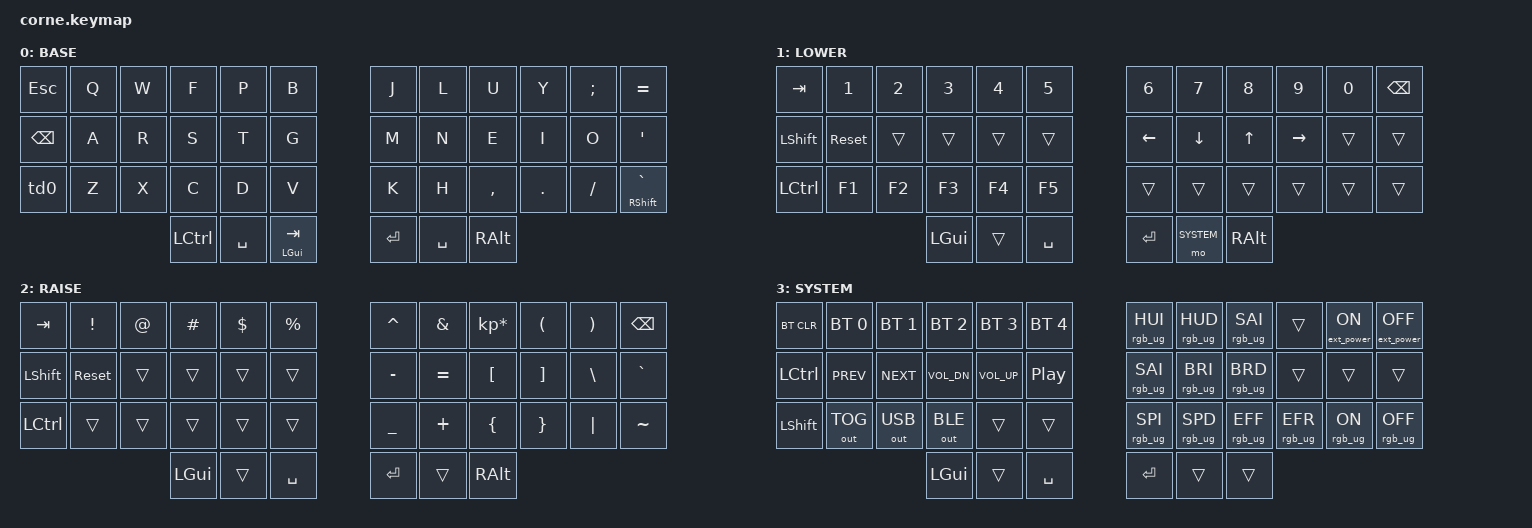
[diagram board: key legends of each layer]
#include <behaviors.dtsi>
#include <dt-bindings/zmk/keys.h>
#include <dt-bindings/zmk/bt.h>
#include <dt-bindings/zmk/ext_power.h>
#include <dt-bindings/zmk/rgb.h>
#include <dt-bindings/zmk/outputs.h>

#define DEFAULT  0
#define LOWER    1
#define RAISE    2
#define SYSTEM   3

&led_strip {
    chain-length = <27>;
    // 21 backlight + 6 glowlight
};

/ {
        combos {
                compatible = "zmk,combos";
                combo_1 {
                        timeout-ms = <50>;
                        key-positions = <0 1>;
                        bindings = <&kp N1>;
                        layers = <0>;
                };
                combo_2 {
                        timeout-ms = <50>;
                        key-positions = <1 2>;
                        bindings = <&kp N2>;
                        layers = <0>;
                };
                combo_3 {
                        timeout-ms = <50>;
                        key-positions = <2 3>;
                        bindings = <&kp N3>;
                        layers = <0>;
                };
                combo_4 {
                        timeout-ms = <50>;
                        key-positions = <3 4>;
                        bindings = <&kp N4>;
                        layers = <0>;
                };
                combo_5 {
                        timeout-ms = <50>;
                        key-positions = <4 5>;
                        bindings = <&kp N5>;
                        layers = <0>;
                };
                combo_6 {
                        timeout-ms = <50>;
                        key-positions = <6 7>;
                        bindings = <&kp N6>;
                        layers = <0>;
                };
                combo_7 {
                        timeout-ms = <50>;
                        key-positions = <7 8>;
                        bindings = <&kp N7>;
                        layers = <0>;
                };
                combo_8 {
                        timeout-ms = <50>;
                        key-positions = <8 9>;
                        bindings = <&kp N8>;
                        layers = <0>;
                };
                combo_9 {
                        timeout-ms = <50>;
                        key-positions = <9 10>;
                        bindings = <&kp N9>;
                        layers = <0>;
                };
                combo_0 {
                        timeout-ms = <50>;
                        key-positions = <10 11>;
                        bindings = <&kp N0>;
                        layers = <0>;
                };

                combo_tab {
                        timeout-ms = <50>;
                        key-positions = <13 14>;
                        bindings = <&kp TAB>;
                        layers = <0>;
                };

                combo_pipe {
                        timeout-ms = <50>;
                        key-positions = <5 6>;
                        bindings = <&kp PIPE>;
                        layers = <0>;
                };
                combo_minur {
                        timeout-ms = <50>;
                        key-positions = <17 18>;
                        bindings = <&kp MINUS>;
                        layers = <0>;
                };
                combo_under {
                        timeout-ms = <50>;
                        key-positions = <29 30>;
                        bindings = <&kp UNDER>;
                        layers = <0>;
                };

                combo_lpar {
                        timeout-ms = <50>;
                        key-positions = <16 17>;
                        bindings = <&mt LT LPAR>;
                        layers = <0>;
                };
                combo_rpar {
                        timeout-ms = <50>;
                        key-positions = <18 19>;
                        bindings = <&mt GT RPAR>;
                        layers = <0>;
                };
                combo_lbrc {
                        timeout-ms = <50>;
                        key-positions = <28 29>;
                        bindings = <&mt LBKT LBRC>;
                        layers = <0>;
                };
                combo_rbrc {
                        timeout-ms = <50>;
                        key-positions = <30 31>;
                        bindings = <&mt RBKT RBRC>;
                        layers = <0>;
                };

                combo_blsh {
                        timeout-ms = <50>;
                        key-positions = <15 28>;
                        bindings = <&kp BSLH>;
                        layers = <0>;
                };
                combo_fslh {
                        timeout-ms = <50>;
                        key-positions = <20 31>;
                        bindings = <&kp FSLH>;
                        layers = <0>;
                };

                combo_up {
                        timeout-ms = <50>;
                        key-positions = <14 16>;
                        bindings = <&kp UP>;
                        layers = <0>;
                };
                combo_down {
                        timeout-ms = <50>;
                        key-positions = <26 28>;
                        bindings = <&kp DOWN>;
                        layers = <0>;
                };
                combo_left {
                        timeout-ms = <50>;
                        key-positions = <14 15>;
                        bindings = <&kp LEFT>;
                        layers = <0>;
                };
                combo_right {
                        timeout-ms = <50>;
                        key-positions = <15 16>;
                        bindings = <&kp RIGHT>;
                        layers = <0>;
                };
                combo_pgup {
                        timeout-ms = <50>;
                        key-positions = <2 4>;
                        bindings = <&kp PG_UP>;
                        layers = <0>;
                };
                combo_pg_dn_1 {
                        timeout-ms = <50>;
                        key-positions = <26 27>;
                        bindings = <&kp PG_DN>;
                        layers = <0>;
                };
                combo_pg_dn_2 {
                        timeout-ms = <50>;
                        key-positions = <27 28>;
                        bindings = <&kp PG_DN>;
                        layers = <0>;
                };
                combo_home {
                        timeout-ms = <50>;
                        key-positions = <2 3 4>;
                        bindings = <&kp HOME>;
                        layers = <0>;
                };
                combo_end {
                        timeout-ms = <50>;
                        key-positions = <26 27 28>;
                        bindings = <&kp END>;
                        layers = <0>;
                };

                combo_sys {
                        timeout-ms = <50>;
                        key-positions = <36 37 38>;
                        bindings = <&mo SYSTEM>;
                        layers = <0>;
                };
        };
};


/ {
        behaviors {
                td0: tap_dance_0 {
                        compatible = "zmk,behavior-tap-dance";
                        #binding-cells = <0>;
                        tapping-term-ms = <200>;
                        bindings = <&kp LSHFT>, <&kp LSHFT>, <&kp CAPSLOCK>;
                };
        };
        keymap {
                compatible = "zmk,keymap";

                default_layer {
                        label = "BASE";
                                // -----------------------------------------------------------------------------------------
                                // | ESC  |  Q  |  W  |  F  |  P  |  B  | _________ |  J  |  L   |  U  |  Y  |  ;  |  =  |
                                // | BKSP |  A  |  R  |  S  |  T  |  G  | _________ |  M  |  N   |  E  |  I  |  O  |  '  |
                                // | SHFT |  Z  |  X  |  C  |  D  |  V  | _________ |  K  |  H   |  ,  |  .  |  /  |  `  |
                                //                    | CRL | SPC | GUI | _________ | ENT | SPC  | ALT |

                        bindings = <
                                &kp ESC    &kp Q  &kp W     &kp F      &kp P &kp B         &kp J    &kp L      &kp U      &kp Y    &kp SEMI  &kp EQUAL
                                &kp BSPC   &kp A  &kp R     &kp S      &kp T &kp G         &kp M    &kp N      &kp E      &kp I    &kp O     &kp SQT
                                &td0       &kp Z  &kp X     &kp C      &kp D &kp V         &kp K    &kp H      &kp COMMA  &kp DOT  &kp FSLH  &mt RSHFT GRAVE
                                                  &kp LCTRL &kp SPACE  &mt LGUI TAB        &kp RET  &kp SPACE  &kp RALT
                        >;
                };

                lower_layer {
                        label = "LOWER";
                                // -----------------------------------------------------------------------------------------
                                // | TAB  |  1  |  2  |  3  |  4  |  5  | _________ |  6   |  7   |  8    |  9     |  0    | BKSP |
                                // | SHFT |     |     |     |     |     | _________ | LEFT | DOWN |  UP   | RIGHT  |       |      |
                                // | CTRL | F1  | F2  | F3  | F4  | F5  | _________ | F6   | F7   |  F8   | F9     |  F10  | F11  |
                                //                    | GUI |     | SPC | _________ | ENT  | SYS  |  RALT |
 
                        bindings = <
                                &kp TAB    &kp N1  &kp N2    &kp N3    &kp N4  &kp N5                 &kp N6    &kp N7      &kp N8  &kp N9     &kp N0  &kp BSPC
                                &kp LSHFT  &sys_reset  &trans    &trans    &trans  &trans                 &kp LEFT  &kp DOWN    &kp UP  &kp RIGHT  &trans  &trans
                                &kp LCTRL  &kp F1  &kp F2    &kp F3    &kp F4  &kp F5                 &trans    &trans      &trans  &trans     &trans  &trans
                                                             &kp LGUI  &trans  &kp SPACE              &kp RET   &mo SYSTEM  &kp RALT
                        >;
                };

                raise_layer {
                        label = "RAISE";
                                // -----------------------------------------------------------------------------------------
                                // |  TAB |  !  |  @  |  #  |  $  |  %  | _________ |  ^  |  &  |  *  |  (  |  )  | BKSP |
                                // | SHFT |     |     |     |     |     | _________ |  -  |  =  |  [  |  ]  |  \  |  `   |
                                // | CTRL |     |     |     |     |     | _________ |  _  |  +  |  {  |  }  | "|" |  ~   |
                                //                    | GUI |     | SPC | _________ | ENT |     | ALT |
                        bindings = <
                                &kp  TAB  &kp EXCL &kp AT &kp HASH &kp DLLR &kp PRCNT           &kp CARET &kp AMPS  &kp KP_MULTIPLY &kp LPAR &kp RPAR &kp BSPC
                                &kp LSHFT &sys_reset   &trans &trans   &trans   &trans              &kp MINUS &kp EQUAL &kp LBKT        &kp RBKT &kp BSLH &kp GRAVE
                                &kp LCTRL &trans   &trans &trans   &trans   &trans              &kp UNDER &kp PLUS  &kp LBRC        &kp RBRC &kp PIPE &kp TILDE
                                                        &kp LGUI &trans   &kp SPACE             &kp RET   &trans    &kp RALT
                        >;
                };

                system_layer {
                        label = "SYSTEM";
                                // -----------------------------------------------------------------------------------------
                                // | BTCLR| BT1  | BT2  | BT3   | BT4   | BT5        | _________ |     |     |     |     |     |   |
                                // | CTRL | Prev | Next | Vol - | Vol + | Play/Pause | _________ |     |     |     |     |     |  `   |
                                // | SHFT |      |      |       |       |            | _________ |     |     |     |     | RGB_ON |  RGB_OFF   |
                                //                      | GUI   |       | SPC        | _________ | ENT |  EP_ON  | EP_OFF |
                        bindings = <
                                &bt BT_CLR  &bt BT_SEL 0  &bt BT_SEL 1  &bt BT_SEL 2   &bt BT_SEL 3  &bt BT_SEL 4               &rgb_ug RGB_HUI   &rgb_ug RGB_HUD  &rgb_ug RGB_SAI  &trans  &ext_power EP_ON      &ext_power EP_OFF
                                &kp LCTRL   &kp C_PREV    &kp C_NEXT    &kp C_VOL_DN   &kp C_VOL_UP  &kp C_PP                   &rgb_ug RGB_SAI   &rgb_ug RGB_BRI  &rgb_ug RGB_BRD  &trans  &trans          &trans
                                &kp LSHFT   &out OUT_TOG  &out OUT_USB  &out OUT_BLE   &trans        &trans                     &rgb_ug RGB_SPI   &rgb_ug RGB_SPD  &rgb_ug RGB_EFF  &rgb_ug RGB_EFR  &rgb_ug RGB_ON  &rgb_ug RGB_OFF
                                                                        &kp LGUI       &trans         &kp SPACE                 &kp RET  &trans  &trans
                        >;
                };
        };
};
